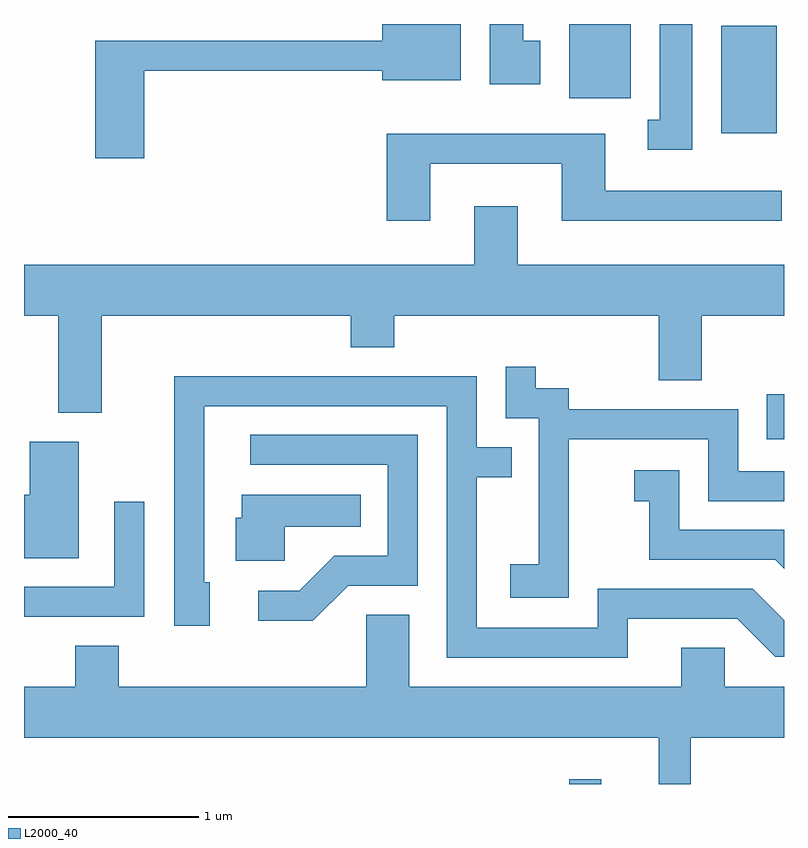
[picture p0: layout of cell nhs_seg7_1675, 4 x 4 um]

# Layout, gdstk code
import gdstk
lib = gdstk.Library(unit=1e-6, precision=1e-09)
def R(c, l, rs):  # rectangles x0, y0, x1, y1
    for r in rs: c.add(gdstk.rectangle(r[:2], r[2:], *l))
def P(c, l, *ps):  # polygons
    for p in ps: c.add(gdstk.Polygon(p, *l))
L2000_40 = (2000, 40)

nhs_seg7_1675 = lib.new_cell('nhs_seg7_1675')
R(nhs_seg7_1675, L2000_40, [(238.481,1756.252,238.649,1756.278), (239.521,1758.066,239.611,1758.303), (239.281,1759.676,239.574,1760.244), (238.481,1759.861,238.804,1760.252)])
P(nhs_seg7_1675, L2000_40, [(238.329,1760.164),(238.239,1760.164),(238.239,1760.252),(238.061,1760.252),(238.061,1759.936),(238.329,1759.936)],
  [(236.244,1760.006),(237.496,1760.006),(237.496,1759.956),(237.909,1759.956),(237.909,1760.252),(237.496,1760.252),(237.496,1760.164),(235.986,1760.164),(235.986,1759.546),(236.244,1759.546)],
  [(239.129,1760.252),(238.956,1760.252),(238.956,1759.749),(238.893,1759.749),(238.893,1759.591),(239.129,1759.591)],
  [(237.749,1759.516),(238.441,1759.516),(238.441,1759.216),(239.598,1759.216),(239.598,1759.374),(238.669,1759.374),(238.669,1759.674),(237.521,1759.674),(237.521,1759.216),(237.749,1759.216)],
  [(236.019,1758.716),(237.331,1758.716),(237.331,1758.551),(237.559,1758.551),(237.559,1758.716),(238.951,1758.716),(238.951,1758.376),(239.179,1758.376),(239.179,1758.716),(239.611,1758.716),(239.611,1758.984),(238.209,1758.984),(238.209,1759.294),(237.981,1759.294),(237.981,1758.984),(235.611,1758.984),(235.611,1758.716),(235.791,1758.716),(235.791,1758.206),(236.019,1758.206)],
  [(238.479,1758.066),(239.211,1758.066),(239.211,1757.741),(239.611,1757.741),(239.611,1757.899),(239.369,1757.899),(239.369,1758.224),(238.479,1758.224),(238.479,1758.334),(238.304,1758.334),(238.304,1758.448),(238.146,1758.448),(238.146,1758.176),(238.321,1758.176),(238.321,1757.409),(238.171,1757.409),(238.171,1757.231),(238.479,1757.231)],
  [(238.789,1757.121),(239.364,1757.121),(239.564,1756.921),(239.611,1756.921),(239.611,1757.115),(239.447,1757.279),(238.631,1757.279),(238.631,1757.074),(237.994,1757.074),(237.994,1757.866),(238.178,1757.866),(238.178,1758.024),(237.994,1758.024),(237.994,1758.399),(236.401,1758.399),(236.401,1757.086),(236.589,1757.086),(236.589,1757.314),(236.559,1757.314),(236.559,1758.241),(237.836,1758.241),(237.836,1756.916),(238.789,1756.916)],
  [(237.317,1757.296),(237.684,1757.296),(237.684,1758.089),(236.803,1758.089),(236.803,1757.931),(237.526,1757.931),(237.526,1757.454),(237.244,1757.454),(237.059,1757.269),(236.843,1757.269),(236.843,1757.111),(237.132,1757.111)],
  [(235.899,1758.054),(235.641,1758.054),(235.641,1757.774),(235.611,1757.774),(235.611,1757.441),(235.899,1757.441)],
  [(239.611,1757.589),(239.059,1757.589),(239.059,1757.904),(238.823,1757.904),(238.823,1757.741),(238.901,1757.741),(238.901,1757.431),(239.564,1757.431),(239.611,1757.384)],
  [(236.984,1757.606),(237.383,1757.606),(237.383,1757.774),(236.756,1757.774),(236.756,1757.654),(236.726,1757.654),(236.726,1757.426),(236.984,1757.426)],
  [(236.244,1757.738),(236.086,1757.738),(236.086,1757.289),(235.611,1757.289),(235.611,1757.131),(236.244,1757.131)],
  [(239.119,1756.496),(239.611,1756.496),(239.611,1756.764),(239.299,1756.764),(239.299,1756.969),(239.071,1756.969),(239.071,1756.764),(237.639,1756.764),(237.639,1757.144),(237.411,1757.144),(237.411,1756.764),(236.109,1756.764),(236.109,1756.979),(235.881,1756.979),(235.881,1756.764),(235.611,1756.764),(235.611,1756.496),(238.951,1756.496),(238.951,1756.252),(239.119,1756.252)])

lib.write_gds('nhs_seg7_1675.gds')
